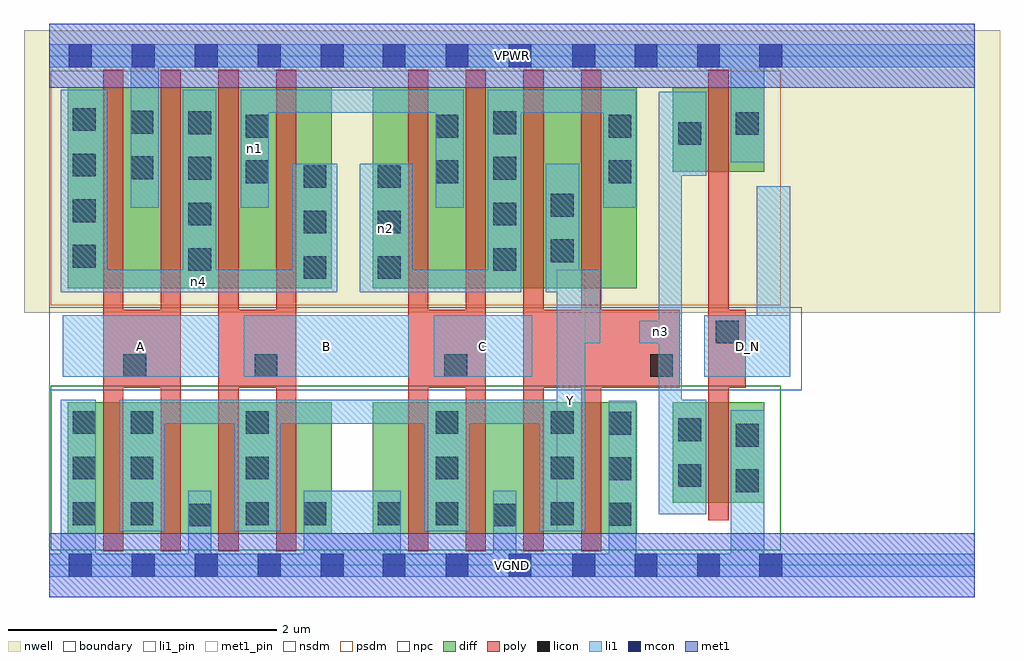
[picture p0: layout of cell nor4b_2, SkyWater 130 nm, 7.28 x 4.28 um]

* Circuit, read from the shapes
.subckt nor4b_2 A B C D_N VGND VPWR Y n1 n2 n3 n4
XM1 Y A VGND VSUBS sky130_fd_pr__nfet_01v8 w=0.98 l=0.15 m=2
XM2 Y B VGND VSUBS sky130_fd_pr__nfet_01v8 w=0.98 l=0.15 m=2
XM3 Y C VGND VSUBS sky130_fd_pr__nfet_01v8 w=0.98 l=0.15 m=2
XM4 Y n3 VGND VSUBS sky130_fd_pr__nfet_01v8 w=0.98 l=0.15 m=2
XM5 VGND D_N n3 VSUBS sky130_fd_pr__nfet_01v8 w=0.75 l=0.15
XM6 VPWR A n4 n5 sky130_fd_pr__pfet_01v8 w=1.5 l=0.15 m=2
XM7 n1 B n4 n5 sky130_fd_pr__pfet_01v8 w=1.5 l=0.15 m=2
XM8 n1 C n2 n5 sky130_fd_pr__pfet_01v8 w=1.5 l=0.15 m=2
XM9 Y n3 n2 n5 sky130_fd_pr__pfet_01v8 w=1.5 l=0.15 m=2
XM10 VPWR D_N n3 n5 sky130_fd_pr__pfet_01v8 w=0.63 l=0.15
.ends

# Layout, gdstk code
import gdstk
lib = gdstk.Library(unit=1e-6, precision=1e-09)
def R(c, l, rs):  # rectangles x0, y0, x1, y1
    for r in rs: c.add(gdstk.rectangle(r[:2], r[2:], *l))
def A(c, l, x, y, w, h, nx, ny, dx, dy):  # array of equal rectangles
    R(c, l, [(x+i*dx, y+j*dy, x+i*dx+w, y+j*dy+h) for i in range(nx) for j in range(ny)])
nwell = (64, 20)
diff = (65, 20)
poly = (66, 20)
licon = (66, 44)
li1_pin = (67, 16)
li1 = (67, 20)
mcon = (67, 44)
met1_pin = (68, 16)
met1 = (68, 20)
nsdm = (93, 44)
psdm = (94, 20)
npc = (95, 20)
boundary = (235, 4)

nor4b_2 = lib.new_cell('nor4b_2')
R(nor4b_2, nwell, [(-0.19,1.885,7.09,3.99), (0,1.885,6.9,3.99)])
R(nor4b_2, diff, [(0.135,0.235,2.105,1.215), (2.41,0.235,4.38,1.215), (4.65,0.465,5.33,1.215), (0.135,2.065,2.105,3.565), (2.41,2.065,4.38,3.565), (4.65,2.935,5.33,3.565)])
A(nor4b_2, poly, 0.4, 0.105, 0.15, 3.59, 4, 1, 0.43, 0)
A(nor4b_2, poly, 2.675, 0.105, 0.15, 3.59, 4, 1, 0.43, 0)
R(nor4b_2, poly, [(4.915,0.335,5.065,3.695), (0.4,1.325,0.98,1.905), (1.26,1.325,1.84,1.905), (2.675,1.325,3.255,1.905), (3.535,1.325,4.7,1.905), (4.915,1.325,5.195,1.905)])
A(nor4b_2, licon, 4.17, 0.295, 0.17, 0.17, 1, 3, 0, 0.34)
A(nor4b_2, licon, 0.175, 0.3, 0.17, 0.17, 1, 3, 0, 0.34)
A(nor4b_2, licon, 0.605, 0.3, 0.17, 0.17, 1, 3, 0, 0.34)
A(nor4b_2, licon, 1.465, 0.3, 0.17, 0.17, 1, 3, 0, 0.34)
A(nor4b_2, licon, 2.88, 0.3, 0.17, 0.17, 1, 3, 0, 0.34)
A(nor4b_2, licon, 3.74, 0.3, 0.17, 0.17, 1, 3, 0, 0.34)
A(nor4b_2, licon, 1.895, 2.135, 0.17, 0.17, 1, 3, 0, 0.34)
A(nor4b_2, licon, 2.45, 2.135, 0.17, 0.17, 1, 3, 0, 0.34)
A(nor4b_2, licon, 1.035, 2.195, 0.17, 0.17, 1, 4, 0, 0.34)
A(nor4b_2, licon, 3.31, 2.195, 0.17, 0.17, 1, 4, 0, 0.34)
A(nor4b_2, licon, 0.175, 2.22, 0.17, 0.17, 1, 4, 0, 0.34)
R(nor4b_2, licon, [(1.035,0.29,1.205,0.46), (3.31,0.29,3.48,0.46), (1.895,0.3,2.065,0.47), (2.45,0.3,2.62,0.47), (5.12,0.545,5.29,0.715), (4.69,0.585,4.86,0.755), (5.12,0.885,5.29,1.055), (4.69,0.925,4.86,1.095), (0.55,1.405,0.72,1.575), (1.53,1.405,1.7,1.575), (2.945,1.405,3.115,1.575), (4.48,1.405,4.65,1.575), (4.97,1.655,5.14,1.825), (3.74,2.26,3.91,2.43), (3.74,2.6,3.91,2.77), (1.465,2.85,1.635,3.02), (2.88,2.85,3.05,3.02), (4.17,2.85,4.34,3.02), (0.605,2.88,0.775,3.05), (4.69,3.135,4.86,3.305), (1.465,3.19,1.635,3.36), (2.88,3.19,3.05,3.36), (4.17,3.19,4.34,3.36), (5.12,3.21,5.29,3.38), (0.605,3.22,0.775,3.39)])
R(nor4b_2, li1_pin, [(3.785,0.255,3.995,2.205), (0.1,1.405,1.265,1.865), (1.45,1.405,2.68,1.865), (2.865,1.405,3.6,1.865), (4.885,1.405,5.525,1.865)])
R(nor4b_2, li1, [(0,-0.085,6.9,0.085), (0.085,-0.085,0.345,1.235), (1.035,-0.085,1.205,0.555), (1.895,-0.085,2.62,0.555), (3.31,-0.085,3.48,0.555), (4.17,-0.085,4.375,1.225), (5.08,-0.085,5.33,1.155), (0.52,0.255,0.86,1.235), (1.38,0.255,1.72,1.235), (2.795,0.255,3.135,1.235), (3.655,0.255,3.995,1.235), (3.785,0.255,3.995,2.205), (4.545,0.38,4.715,3.53), (4.545,0.38,4.9,1.235), (0.52,1.055,3.995,1.235), (0.1,1.405,1.265,1.865), (1.45,1.405,2.68,1.865), (2.865,1.405,3.6,1.865), (4.885,1.405,5.525,1.865), (5.275,1.405,5.525,2.825), (3.785,1.655,4.11,2.205), (4.4,1.655,4.715,1.825), (0.085,2.035,2.145,2.205), (0.085,2.035,0.43,3.545), (0.995,2.035,1.245,3.545), (1.81,2.035,2.145,2.995), (2.315,2.035,2.705,2.995), (2.315,2.035,3.52,2.205), (3.27,2.035,3.52,3.545), (3.7,2.035,3.95,2.995), (0.605,2.665,0.815,3.885), (1.425,2.665,1.635,3.545), (2.88,2.665,3.09,3.545), (4.13,2.665,4.375,3.545), (4.545,2.905,4.9,3.53), (5.08,3.005,5.33,3.885), (1.425,3.375,3.09,3.545), (3.27,3.375,4.375,3.545), (0,3.715,6.9,3.885)])
A(nor4b_2, mcon, 0.145, -0.085, 0.17, 0.17, 5, 2, 0.47, 3.8)
A(nor4b_2, mcon, 2.485, -0.085, 0.17, 0.17, 3, 2, 0.47, 3.8)
A(nor4b_2, mcon, 3.9, -0.085, 0.17, 0.17, 4, 2, 0.465, 3.8)
R(nor4b_2, met1_pin, [(0,-0.24,6.9,0.24), (0,3.56,6.9,4.04)])
R(nor4b_2, met1, [(0,-0.24,6.9,0.24), (0,3.56,6.9,4.04)])
R(nor4b_2, nsdm, [(0.01,0.11,5.455,1.34)])
R(nor4b_2, psdm, [(0.01,1.94,5.455,3.69)])
R(nor4b_2, npc, [(0,1.305,5.61,1.925)])
R(nor4b_2, boundary, [(0,0,6.9,3.8)])
nor4b_2.add(gdstk.Label('A', (0.682,1.635), layer=67, texttype=5))
nor4b_2.add(gdstk.Label('B', (2.065,1.635), layer=67, texttype=5))
nor4b_2.add(gdstk.Label('C', (3.232,1.635), layer=67, texttype=5))
nor4b_2.add(gdstk.Label('D_N', (5.205,1.635), layer=67, texttype=5))
nor4b_2.add(gdstk.Label('Y', (3.89,1.23), layer=67, texttype=5))
nor4b_2.add(gdstk.Label('n3', (4.557,1.74), layer=67, texttype=5))
nor4b_2.add(gdstk.Label('n4', (1.115,2.12), layer=67, texttype=5))
nor4b_2.add(gdstk.Label('n1', (1.53,3.105), layer=67, texttype=5))
nor4b_2.add(gdstk.Label('n2', (2.51,2.515), layer=67, texttype=5))
nor4b_2.add(gdstk.Label('VPWR', (3.45,3.8), layer=68, texttype=5))
nor4b_2.add(gdstk.Label('VGND', (3.45,0), layer=68, texttype=5))
nor4b_2.add(gdstk.Label('A', (0.682,1.635), layer=67, texttype=16))
nor4b_2.add(gdstk.Label('B', (2.065,1.635), layer=67, texttype=16))
nor4b_2.add(gdstk.Label('C', (3.232,1.635), layer=67, texttype=16))
nor4b_2.add(gdstk.Label('D_N', (5.205,1.635), layer=67, texttype=16))
nor4b_2.add(gdstk.Label('Y', (3.89,1.23), layer=67, texttype=16))
nor4b_2.add(gdstk.Label('VPWR', (3.45,3.8), layer=68, texttype=16))
nor4b_2.add(gdstk.Label('VGND', (3.45,0), layer=68, texttype=16))

lib.write_gds('nor4b_2.gds')
